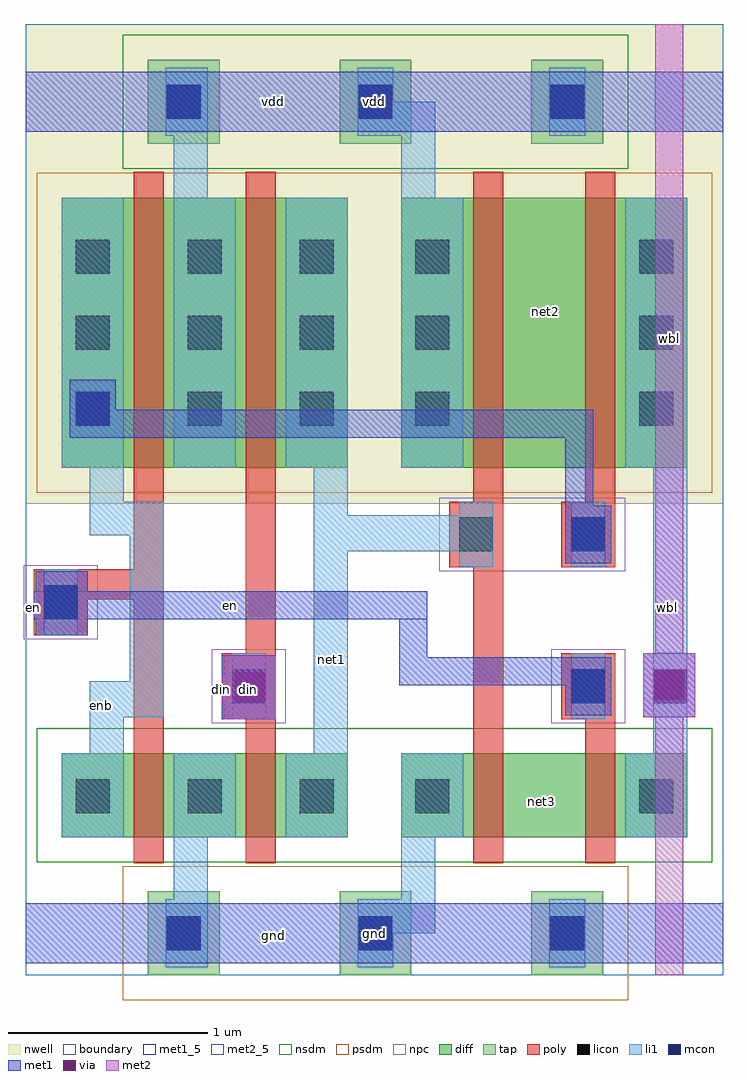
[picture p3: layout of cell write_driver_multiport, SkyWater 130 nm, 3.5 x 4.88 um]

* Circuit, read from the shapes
.subckt write_driver_multiport din en enb gnd net1 net2 net3 vdd wbl
XM1 gnd en enb gnd sky130_fd_pr__nfet_01v8 w=0.42 l=0.15
XM2 net1 din gnd gnd sky130_fd_pr__nfet_01v8 w=0.42 l=0.15
XM3 net3 net1 gnd gnd sky130_fd_pr__nfet_01v8 w=0.42 l=0.15
XM4 wbl en net3 gnd sky130_fd_pr__nfet_01v8 w=0.42 l=0.15
XM5 vdd en enb vdd sky130_fd_pr__pfet_01v8 w=1.35 l=0.15
XM6 net1 din vdd vdd sky130_fd_pr__pfet_01v8 w=1.35 l=0.15
XM7 net2 net1 vdd vdd sky130_fd_pr__pfet_01v8 w=1.35 l=0.15
XM8 wbl enb net2 vdd sky130_fd_pr__pfet_01v8 w=1.35 l=0.15
.ends

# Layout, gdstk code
import gdstk
lib = gdstk.Library(unit=1e-6, precision=1e-09)
def R(c, l, rs):  # rectangles x0, y0, x1, y1
    for r in rs: c.add(gdstk.rectangle(r[:2], r[2:], *l))
def A(c, l, x, y, w, h, nx, ny, dx, dy):  # array of equal rectangles
    R(c, l, [(x+i*dx, y+j*dy, x+i*dx+w, y+j*dy+h) for i in range(nx) for j in range(ny)])
nwell = (64, 20)
diff = (65, 20)
tap = (65, 44)
poly = (66, 20)
licon = (66, 44)
li1 = (67, 20)
mcon = (67, 44)
met1_5 = (68, 5)
met1 = (68, 20)
via = (68, 44)
met2_5 = (69, 5)
met2 = (69, 20)
nsdm = (93, 44)
psdm = (94, 20)
npc = (95, 20)
boundary = (235, 4)

write_driver_multiport = lib.new_cell('write_driver_multiport')
R(write_driver_multiport, nwell, [(0,2.36,3.49,4.76)])
R(write_driver_multiport, diff, [(0.18,0.69,1.61,1.11), (1.88,0.69,3.31,1.11), (0.18,2.54,1.61,3.89), (1.88,2.54,3.31,3.89)])
A(write_driver_multiport, tap, 0.61, 0, 0.36, 0.42, 3, 2, 0.96, 4.16)
R(write_driver_multiport, poly, [(0.54,0.56,0.69,1.88), (1.1,0.56,1.25,1.28), (2.24,0.56,2.39,2.04), (2.8,0.56,2.95,1.28), (0.98,1.28,1.25,1.61), (2.68,1.28,2.95,1.61), (1.1,1.61,1.25,4.02), (0.04,1.7,0.31,1.88), (0.04,1.88,0.69,2.03), (0.54,2.03,0.69,4.02), (2.12,2.04,2.39,2.37), (2.68,2.04,2.95,2.37), (2.24,2.37,2.39,4.02), (2.8,2.37,2.95,4.02)])
A(write_driver_multiport, licon, 0.705, 0.125, 0.17, 0.17, 3, 2, 0.96, 4.16)
A(write_driver_multiport, licon, 0.25, 0.81, 0.17, 0.17, 3, 2, 0.56, 1.94)
A(write_driver_multiport, licon, 1.95, 2.75, 0.17, 0.17, 1, 3, 0, 0.38)
A(write_driver_multiport, licon, 3.07, 2.75, 0.17, 0.17, 1, 3, 0, 0.38)
A(write_driver_multiport, licon, 0.25, 3.13, 0.17, 0.17, 3, 2, 0.56, 0.38)
R(write_driver_multiport, licon, [(1.95,0.81,2.12,0.98), (3.07,0.81,3.24,0.98), (1.03,1.36,1.2,1.53), (2.73,1.36,2.9,1.53), (0.09,1.78,0.26,1.95), (2.17,2.12,2.34,2.29), (2.73,2.12,2.9,2.29)])
A(write_driver_multiport, li1, 0.18, 0.69, 0.31, 0.42, 3, 1, 0.56, 0)
A(write_driver_multiport, li1, 0.18, 2.54, 0.31, 1.35, 3, 1, 0.56, 0)
R(write_driver_multiport, li1, [(0.7,0.04,0.91,0.38), (1.66,0.04,1.84,0.21), (2.62,0.04,2.8,0.38), (1.66,0.21,2.05,0.38), (0.74,0.38,0.91,0.69), (1.88,0.38,2.05,0.69), (1.88,0.69,2.19,1.11), (3,0.69,3.31,1.11), (0.32,1.11,0.49,1.29), (1.44,1.11,1.61,2.12), (3.14,1.11,3.31,2.54), (1.03,1.28,1.2,1.61), (2.73,1.28,2.9,1.61), (0.32,1.29,0.69,1.47), (0.52,1.47,0.69,2.2), (0.09,1.7,0.26,2.03), (2.17,2.04,2.34,2.12), (2.73,2.04,2.9,2.37), (1.44,2.12,2.34,2.3), (0.32,2.2,0.69,2.37), (1.44,2.3,1.61,2.54), (2.17,2.3,2.34,2.37), (0.32,2.37,0.49,2.54), (1.88,2.54,2.19,3.89), (3,2.54,3.31,3.89), (0.74,3.89,0.91,4.2), (1.88,3.89,2.05,4.2), (0.7,4.2,0.91,4.54), (1.66,4.2,2.05,4.37), (2.62,4.2,2.8,4.54), (1.66,4.37,1.84,4.54)])
A(write_driver_multiport, mcon, 0.705, 0.125, 0.17, 0.17, 3, 2, 0.96, 4.16)
R(write_driver_multiport, mcon, [(1.03,1.36,1.2,1.53), (2.73,1.36,2.9,1.53), (3.14,1.36,3.31,1.53), (0.09,1.78,0.26,1.95), (2.73,2.12,2.9,2.29), (0.25,2.75,0.42,2.92)])
R(write_driver_multiport, met1_5, [(0,0.06,3.49,0.36), (0.04,1.78,2.01,1.92), (0,4.22,3.49,4.52)])
R(write_driver_multiport, met1, [(0,0.06,3.49,0.36), (0,0.06,3.49,0.36), (0.98,1.28,1.25,1.6), (3.09,1.29,3.35,1.61), (2.7,1.3,2.93,1.45), (1.87,1.45,2.93,1.59), (1.87,1.59,2.01,1.78), (0.05,1.7,0.31,1.78), (0.04,1.78,2.01,1.92), (0.04,1.78,2.01,1.92), (0.05,1.92,0.31,2.02), (2.7,2.06,2.93,2.35), (2.7,2.35,2.84,2.69), (0.22,2.69,2.84,2.83), (0.22,2.83,0.45,2.98), (0,4.22,3.49,4.52), (0,4.22,3.49,4.52)])
R(write_driver_multiport, via, [(1.045,1.365,1.195,1.515), (3.145,1.375,3.295,1.525)])
R(write_driver_multiport, met2_5, [(0.98,1.36,1.25,1.5), (3.15,1.61,3.29,4.76)])
R(write_driver_multiport, met2, [(3.15,0,3.29,1.29), (0.99,1.28,1.25,1.36), (3.09,1.29,3.35,1.61), (0.98,1.36,1.25,1.5), (0.98,1.36,1.25,1.5), (0.99,1.5,1.25,1.6), (3.15,1.61,3.29,4.76), (3.15,1.61,3.29,4.76)])
R(write_driver_multiport, nsdm, [(0.055,0.565,3.435,1.235), (0.485,4.035,3.015,4.705)])
R(write_driver_multiport, psdm, [(0.485,-0.125,3.015,0.545), (0.055,2.415,3.435,4.015)])
R(write_driver_multiport, npc, [(0.93,1.26,1.3,1.63), (2.63,1.26,3,1.63), (-0.01,1.68,0.36,2.05), (2.07,2.02,3,2.39)])
R(write_driver_multiport, boundary, [(0,0,3.49,4.76)])
write_driver_multiport.add(gdstk.Label('enb', (0.38,1.35), layer=67, texttype=16))
write_driver_multiport.add(gdstk.Label('net1', (1.53,1.58), layer=67, texttype=16))
write_driver_multiport.add(gdstk.Label('net2', (2.6,3.32), layer=65, texttype=20))
write_driver_multiport.add(gdstk.Label('net3', (2.58,0.87), layer=65, texttype=20))
write_driver_multiport.add(gdstk.Label('din', (0.98,1.43), layer=69, texttype=5))
write_driver_multiport.add(gdstk.Label('vdd', (1.24,4.37), layer=68, texttype=5))
write_driver_multiport.add(gdstk.Label('gnd', (1.24,0.2), layer=68, texttype=5))
write_driver_multiport.add(gdstk.Label('en', (0.04,1.84), layer=68, texttype=5))
write_driver_multiport.add(gdstk.Label('wbl', (3.21,1.84), layer=69, texttype=5))
write_driver_multiport.add(gdstk.Label('din', (1.115,1.43), layer=69, texttype=20))
write_driver_multiport.add(gdstk.Label('en', (1.025,1.85), layer=68, texttype=20))
write_driver_multiport.add(gdstk.Label('wbl', (3.22,3.185), layer=69, texttype=20))
write_driver_multiport.add(gdstk.Label('vdd', (1.745,4.37), layer=68, texttype=20))
write_driver_multiport.add(gdstk.Label('gnd', (1.745,0.21), layer=68, texttype=20))

lib.write_gds('write_driver_multiport.gds')
